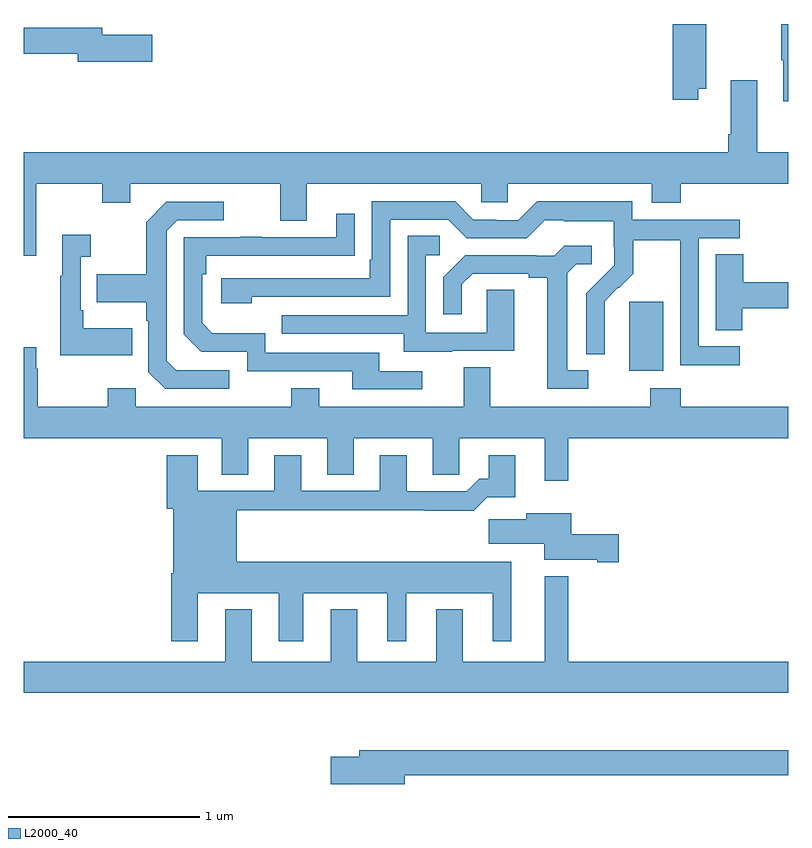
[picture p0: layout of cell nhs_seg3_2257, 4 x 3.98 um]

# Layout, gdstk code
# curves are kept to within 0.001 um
import gdstk
lib = gdstk.Library(unit=1e-6, precision=1e-09)
def R(c, l, rs):  # rectangles x0, y0, x1, y1
    for r in rs: c.add(gdstk.rectangle(r[:2], r[2:], *l))
def P(c, l, *ps):  # polygons
    for p in ps: c.add(gdstk.Polygon(p, *l))
L2000_40 = (2000, 40)

nhs_seg3_2257 = lib.new_cell('nhs_seg3_2257')
R(nhs_seg3_2257, L2000_40, [(230.168,718.586,230.347,718.947)])
P(nhs_seg3_2257, L2000_40, [(230.53,720.062),(230.571,720.062),(230.571,720.4),(230.396,720.4),(230.396,720.003),(230.53,720.003)],
  [(231,720.4),(230.964,720.4),(230.964,720.209),(230.975,720.209),(230.975,719.997),(231,719.997)],
  [(227.671,720.344),(227.41,720.344),(227.41,720.38),(227,720.38),(227,720.244),(227.282,720.244),(227.282,720.202),(227.671,720.202)],
  [(227.065,719.564),(227.41,719.564),(227.41,719.465),(227.557,719.465),(227.557,719.564),(228.341,719.564),(228.341,719.37),(228.481,719.37),(228.481,719.564),(229.395,719.564),(229.395,719.466),(229.533,719.466),(229.533,719.564),(230.285,719.564),(230.285,719.465),(230.438,719.465),(230.438,719.564),(231,719.564),(231,719.728),(230.839,719.728),(230.839,720.106),(230.699,720.106),(230.699,719.824),(230.687,719.824),(230.687,719.728),(227,719.728),(227,719.187),(227.065,719.187)],
  [(230.746,718.713),(230.532,718.713),(230.532,719.28),(230.746,719.28),(230.746,719.376),(230.184,719.376),(230.184,719.473),(229.687,719.473),(229.587,719.373),(229.472,719.373),(229.472,719.376),(229.353,719.376),(229.257,719.472),(228.822,719.472),(228.822,719.167),(228.809,719.167),(228.809,719.07),(228.033,719.07),(228.033,718.94),(228.194,718.94),(228.194,718.974),(228.918,718.974),(228.918,719.376),(229.221,719.376),(229.317,719.28),(229.632,719.28),(229.725,719.373),(229.825,719.373),(229.825,719.369),(230.088,719.369),(230.088,719.235),(230.09,719.235),(230.09,719.138),(229.944,718.99),(229.944,718.672),(230.04,718.672),(230.039,718.949),(230.109,719.019),(230.112,719.016),(230.189,719.093),(230.189,719.268),(230.434,719.268),(230.434,719.044),(230.436,719.044),(230.436,718.615),(230.746,718.615)],
  [(228.076,718.587),(227.799,718.587),(227.748,718.638),(227.748,719.319),(227.802,719.373),(228.046,719.373),(228.046,719.469),(227.745,719.469),(227.64,719.363),(227.64,719.091),(227.383,719.091),(227.383,718.943),(227.64,718.943),(227.64,718.847),(227.652,718.847),(227.652,718.578),(227.739,718.491),(228.076,718.491)],
  [(229.084,718.584),(228.859,718.584),(228.859,718.68),(228.264,718.68),(228.264,718.783),(227.987,718.783),(227.934,718.836),(227.934,719.09),(227.954,719.09),(227.954,719.187),(228.731,719.188),(228.731,719.407),(228.635,719.407),(228.635,719.283),(228.245,719.283),(228.245,719.288),(228.133,719.288),(228.133,719.283),(227.838,719.283),(227.838,718.776),(227.928,718.686),(228.168,718.686),(228.168,718.584),(228.719,718.584),(228.719,718.488),(229.084,718.488)],
  [(227.567,718.807),(227.311,718.807),(227.311,718.903),(227.298,718.903),(227.298,719.183),(227.35,719.183),(227.35,719.296),(227.201,719.296),(227.201,719.083),(227.19,719.083),(227.19,718.667),(227.567,718.667)],
  [(229.243,718.689),(229.567,718.689),(229.567,719.009),(229.422,719.009),(229.422,718.785),(229.104,718.785),(229.104,719.19),(229.177,719.19),(229.177,719.291),(229.008,719.291),(229.008,718.875),(228.349,718.875),(228.349,718.779),(228.989,718.779),(228.989,718.685),(229.243,718.685)],
  [(229.954,718.587),(229.843,718.587),(229.843,719.095),(229.89,719.142),(229.972,719.142),(229.972,719.239),(229.828,719.239),(229.776,719.187),(229.682,719.187),(229.682,719.19),(229.31,719.19),(229.194,719.074),(229.194,718.881),(229.291,718.881),(229.291,719.037),(229.348,719.094),(229.643,719.094),(229.643,719.072),(229.739,719.072),(229.739,718.491),(229.954,718.491)],
  [(230.76,718.912),(231,718.912),(231,719.048),(230.765,719.048),(230.765,719.195),(230.621,719.195),(230.621,718.798),(230.76,718.798)],
  [(229.849,718.232),(231,718.232),(231,718.396),(230.438,718.396),(230.438,718.495),(230.278,718.495),(230.278,718.396),(229.441,718.396),(229.441,718.604),(229.301,718.604),(229.301,718.396),(228.547,718.396),(228.547,718.495),(228.4,718.495),(228.4,718.396),(227.586,718.396),(227.586,718.495),(227.44,718.495),(227.44,718.396),(227.073,718.396),(227.073,718.595),(227.065,718.595),(227.065,718.708),(227,718.708),(227,718.232),(228.035,718.232),(228.035,718.042),(228.175,718.042),(228.175,718.232),(228.587,718.232),(228.587,718.042),(228.727,718.042),(228.727,718.232),(229.139,718.232),(229.139,718.042),(229.278,718.042),(229.278,718.232),(229.727,718.232),(229.727,718.011),(229.849,718.011)],
  [(227.911,717.422),(228.335,717.422),(228.335,717.171),(228.463,717.171),(228.463,717.422),(228.902,717.422),(228.902,717.171),(229,717.171),(229,717.422),(229.454,717.422),(229.454,717.171),(229.552,717.171),(229.552,717.586),(228.115,717.586),(228.115,717.856),(229.099,717.856),(229.099,717.854),(229.355,717.854),(229.424,717.923),(229.573,717.923),(229.573,718.144),(229.433,718.144),(229.433,718.021),(229.384,718.021),(229.317,717.954),(229.003,717.954),(229.003,718.144),(228.863,718.144),(228.863,717.957),(228.451,717.957),(228.451,718.144),(228.311,718.144),(228.311,717.957),(227.911,717.957),(227.911,718.144),(227.747,718.144),(227.747,717.864),(227.783,717.864),(227.783,717.526),(227.771,717.526),(227.771,717.171),(227.911,717.171)],
  [(230.113,717.731),(229.864,717.731),(229.864,717.841),(229.628,717.841),(229.628,717.809),(229.434,717.809),(229.434,717.68),(229.724,717.68),(229.724,717.596),(230,717.596),(230,717.584),(230.113,717.584)],
  [(231,717.064),(229.849,717.064),(229.849,717.511),(229.727,717.511),(229.727,717.064),(229.297,717.064),(229.297,717.337),(229.157,717.337),(229.157,717.064),(228.745,717.064),(228.745,717.337),(228.605,717.337),(228.605,717.064),(228.193,717.064),(228.193,717.337),(228.053,717.337),(228.053,717.064),(227,717.064),(227,716.9),(231,716.9)],
  [(228.994,716.47),(231,716.47),(231,716.599),(228.755,716.599),(228.755,716.565),(228.606,716.565),(228.606,716.423),(228.994,716.423)])

lib.write_gds('nhs_seg3_2257.gds')
